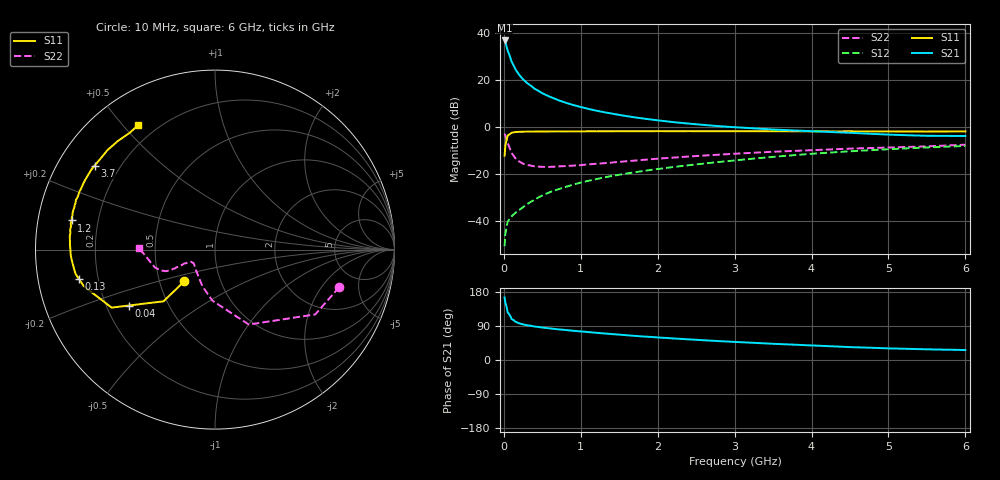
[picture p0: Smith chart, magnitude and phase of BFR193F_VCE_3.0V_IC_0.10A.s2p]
! Infineon Technologies  Discrete & RF Semiconductors
! BFR193F
! VCE =  3.0 V,  IC = 0.10 A
! Common Emitter S-Parameters:  Jan 2017
# GHz  S  MA  R  50
!  f  S11  S21  S12  S22
! GHz  MAG  ANG  MAG  ANG  MAG  ANG  MAG  ANG
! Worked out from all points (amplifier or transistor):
!   77 points, 10 MHz to 6 GHz, reference 50 ohm
!   highest |S21| = 37.0 dB at 10 MHz (marker M1)
!   |S21| within 3 dB of that: start of sweep to 38.46 MHz
!   unconditionally stable (mu >= 1): start of sweep to 10.65 MHz; 293.6 MHz to 3.014 GHz
!   at 130 MHz: K = 0.74, MSG = 31.6 dB, |S12| = -37.1 dB
!   at 2.2 GHz: K = 1.07, MAG = 8.0 dB, |S12| = -17.0 dB
!   at 6 GHz: K = 0.93, MSG = 2.1 dB, |S12| = -8.0 dB
!   S11 on the Smith chart (normalised r, x): 10 MHz: 0.67, -0.25; 40 MHz: 0.29, -0.27; 130 MHz: 0.13, -0.10; 1.2 GHz: 0.10, +0.10; 3.7 GHz: 0.11, +0.31; 6 GHz: 0.13, +0.55
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0.01  0.2473 -134.1  70.6 165.0  0.0029 75.3  0.7229 -16.9
0.02  0.407 -134.9  64.44 151.0  0.0053 72.4  0.665 -32.9
0.04  0.5721 -147.0  48.92 136.3  0.0081 56.1  0.5062 -52.0
0.05  0.6606 -150.7  42.99 125.4  0.0096 51.7  0.4582 -65.7
0.1  0.7595 -164.5  24.95 108.3  0.0125 51.8  0.2847 -92.9
0.13  0.776 -167.9  20.26 104.7  0.0139 54.6  0.2421 -101.2
0.15  0.7885 -170.1  17.2 101.2  0.0149 56.2  0.2174 -108.4
0.2  0.7949 -173.4  13.02 96.8  0.0171 60.6  0.1857 -117.9
0.25  0.8003 -175.9  10.47 94.0  0.0197 62.5  0.1659 -126.2
0.3  0.8039 -177.4  8.774 91.8  0.0227 66.5  0.1572 -132.0
0.4  0.806 179.9  6.591 88.3  0.0285 69.2  0.1463 -139.8
0.5  0.8087 177.9  5.297 85.7  0.0349 72.6  0.1423 -144.8
0.7  0.8126 174.6  3.807 81.1  0.047 74.6  0.1453 -150.1
0.9  0.8148 172.0  2.977 77.2  0.0595 76.3  0.1513 -153.3
1.1  0.8168 169.8  2.451 73.6  0.0719 76.9  0.1612 -154.0
1.2  0.8153 168.5  2.254 71.8  0.0778 77.1  0.1658 -154.8
2.1  0.8208 159.6  1.341 58.3  0.1345 76.4  0.2186 -155.2
3.1  0.8204 150.9  0.976 46.8  0.2023 73.5  0.2768 -155.2
3.7  0.8176 145.1  0.861 41.1  0.2475 70.6  0.3084 -157.4
4.1  0.8146 141.1  0.807 37.6  0.2771 68.2  0.3277 -159.8
5.1  0.8098 130.6  0.685 30.2  0.3448 61.1  0.3723 -170.8
6  0.8152 121.7  0.648 26.3  0.3971 54.7  0.423 178.9
